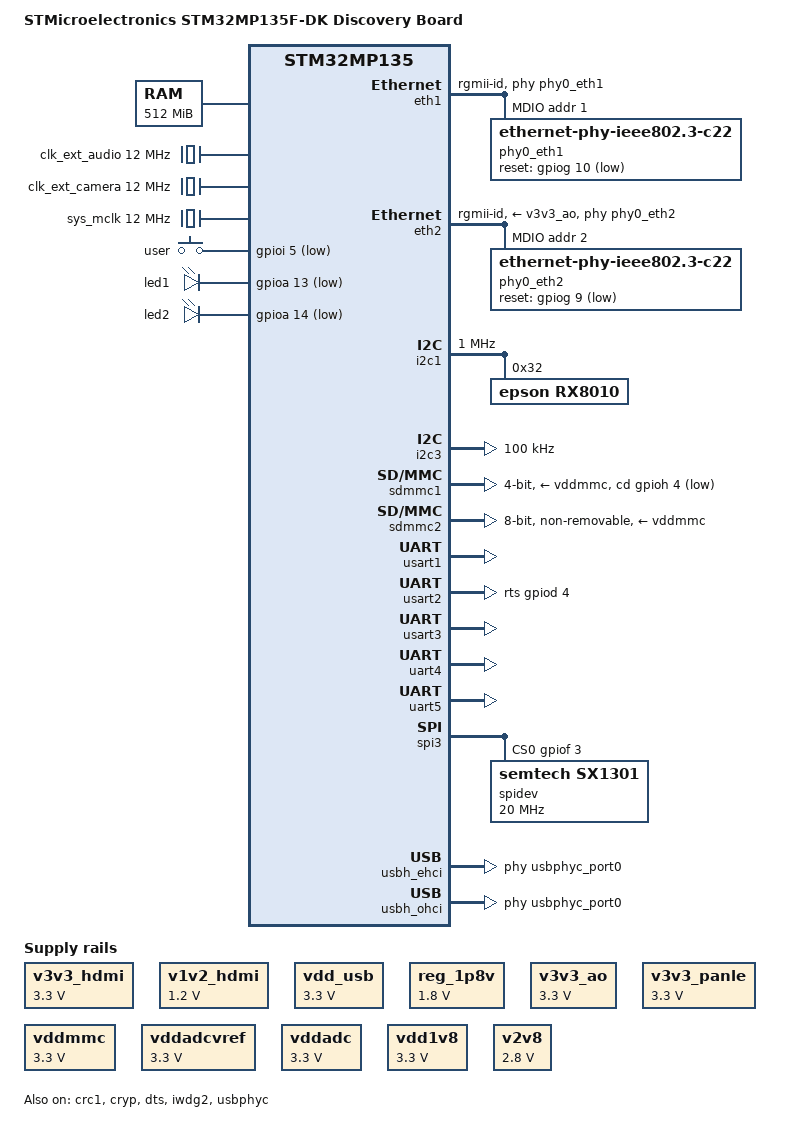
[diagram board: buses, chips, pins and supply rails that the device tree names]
// SPDX-License-Identifier: (GPL-2.0+ OR BSD-3-Clause)
/*
 * Copyright (C) MYiR 2022 - All Rights Reserved
 * Author: Alexhu <fan.hu@myirtech.com> for MYiR.
 */

/dts-v1/;

#include <dt-bindings/gpio/gpio.h>
#include <dt-bindings/input/input.h>
#include <dt-bindings/leds/common.h>
#include <dt-bindings/rtc/rtc-stm32.h>
#include "stm32mp135.dtsi"
#include "stm32mp13xf.dtsi"
#include "stm32mp13-gateway-pinctrl.dtsi"

/ {
	model = "STMicroelectronics STM32MP135F-DK Discovery Board";
	compatible = "st,stm32mp135f-dk", "st,stm32mp135";

	aliases {
		ethernet0 = &eth1;
		ethernet1 = &eth2;
		serial0 = &uart4;
		serial3 = &usart1;
		serial1 = &usart2;
		serial2 = &usart3;
		serial5 = &uart5;
	};

	chosen {
		#address-cells = <1>;
		#size-cells = <1>;
		ranges;
		stdout-path = "serial0:115200n8";
	};

	memory@c0000000 {
		device_type = "memory";
		reg = <0xc0000000 0x20000000>;
	};

	reserved-memory {
		#address-cells = <1>;
		#size-cells = <1>;
		ranges;

		optee_framebuffer@dd000000 {
			reg = <0xdd000000 0x1000000>;
			no-map;
		};

		optee@de000000 {
			reg = <0xde000000 0x2000000>;
			no-map;
		};
	};

	clocks {
		clk_ext_audio: clk-ext-audio {
			#clock-cells = <0>;
			compatible = "fixed-clock";
			clock-frequency = <12000000>;
		};

		clk_ext_camera: clk-ext-camera {
			#clock-cells = <0>;
			compatible = "fixed-clock";
			clock-frequency = <12000000>;
		};

		clk_mco1: clk-mco1 {
			#clock-cells = <0>;
			compatible = "fixed-clock";
			clock-frequency = <24000000>;
		};
	};

	sys_mclk: clock-mclk {
		compatible = "fixed-clock";
		#clock-cells = <0>;
		clock-frequency = <12000000>;
	};

	gpio-keys {
		compatible = "gpio-keys";
		#size-cells = <0>;

		user {
			label = "user";
			linux,code = <BTN_1>;
			gpios = <&gpioi 5 (GPIO_ACTIVE_LOW | GPIO_PULL_UP)>;
		};
	};

	leds {
		compatible = "gpio-leds";
		led1 {
			gpios = <&gpioa 13 GPIO_ACTIVE_LOW>;
			linux,default-trigger = "heartbeat";
			default-state = "on";
		};
		led2 {
			gpios = <&gpioa 14 GPIO_ACTIVE_LOW>;
			linux,default-trigger = "heartbeat";
			default-state = "on";
		};

	};

	v3v3_hdmi: regulator-v3v3-hdmi {
		compatible = "regulator-fixed";
		regulator-name = "v3v3_hdmi";
		regulator-min-microvolt = <3300000>;
		regulator-max-microvolt = <3300000>;
		regulator-always-on;
		regulator-boot-on;
	};

	v1v2_hdmi: regulator-v1v2-hdmi {
		compatible = "regulator-fixed";
		regulator-name = "v1v2_hdmi";
		regulator-min-microvolt = <1200000>;
		regulator-max-microvolt = <1200000>;
		regulator-always-on;
		regulator-boot-on;
	};

	vdd_usb: reg-vdd_usb {
		compatible = "regulator-fixed";
		regulator-name = "vdd_usb";
		regulator-min-microvolt = <3300000>;
		regulator-max-microvolt = <3300000>;
		regulator-always-on;
		regulator-boot-on;
	};

	reg_1p8v: regulator3 {
		compatible = "regulator-fixed";
		regulator-name = "fixed-1.8V";
		regulator-min-microvolt = <1800000>;
		regulator-max-microvolt = <1800000>;
		regulator-boot-on;
		regulator-always-on;
	};

	v3v3_ao: v3v3_ao {
		compatible = "regulator-fixed";
		regulator-name = "v3v3_ao";
		regulator-min-microvolt = <3300000>;
		regulator-max-microvolt = <3300000>;
		regulator-always-on;
	};

	v3v3_panle: v3v3_panle {
		compatible = "regulator-fixed";
		regulator-name = "v3v3_panle";
		regulator-min-microvolt = <3300000>;
		regulator-max-microvolt = <3300000>;
		regulator-always-on;
	};

	vddmmc: fixedregulator@0 {
		compatible = "regulator-fixed";
		regulator-name = "vddmmc";
		regulator-min-microvolt = <3300000>;
		regulator-max-microvolt = <3300000>;
	};

	vddadcvref: fixedregulator@0 {
		compatible = "regulator-fixed";
		regulator-name = "vddadcvref";
		regulator-min-microvolt = <3300000>;
		regulator-max-microvolt = <3300000>;
	};

	vddadc: fixedregulator@0 {
		compatible = "regulator-fixed";
		regulator-name = "vddadc";
		regulator-min-microvolt = <3300000>;
		regulator-max-microvolt = <3300000>;
	};

	vdd1v8: vdd1v8 {
		compatible = "regulator-fixed";
		regulator-name = "vdd1v8";
		regulator-min-microvolt = <3300000>;
		regulator-max-microvolt = <3300000>;
	};

	v2v8: v2v8 {
		compatible = "regulator-fixed";
		regulator-name = "v2v8";
		regulator-min-microvolt = <2800000>;
		regulator-max-microvolt = <2800000>;
	};
};

&crc1 {
	status = "okay";
};

&cryp {
	status = "okay";
};

&dma1 {
	sram = <&dma_pool>;
};

&dma2 {
	sram = <&dma_pool>;
};

&dts {
	status = "okay";
};

&eth1 {
	status = "okay";
	pinctrl-0 = <&eth1_rgmii_pins_a>;
	pinctrl-1 = <&eth1_rgmii_sleep_pins_a>;
	pinctrl-names = "default", "sleep";
	phy-mode = "rgmii-id";
	max-speed = <1000>;
	phy-handle = <&phy0_eth1>;
	//st,phy-reset-gpios = <&gpiog 10 GPIO_ACTIVE_HIGH>;
	//snps,phy-reset-gpios = <&gpiog 10 GPIO_ACTIVE_HIGH>;

	mdio1 {
		#address-cells = <1>;
		#size-cells = <0>;
		compatible = "snps,dwmac-mdio";
		phy0_eth1: ethernet-phy@1 {
				compatible = "ethernet-phy-ieee802.3-c22";
				reg = <1>;
			reset-gpios = <&gpiog 10 GPIO_ACTIVE_LOW>;
			reset-assert-us = <10000>;
			reset-deassert-us = <1000>;
		};
	};
	
};

&eth2 {
	status = "okay";
	pinctrl-0 = <&eth2_rgmii_pins_a>;
	pinctrl-1 = <&eth2_rgmii_sleep_pins_a>;
	pinctrl-names = "default", "sleep";
	phy-mode = "rgmii-id";
	max-speed = <1000>;
	phy-handle = <&phy0_eth2>;
	phy-supply = <&v3v3_ao>;
	//st,phy-reset-gpios =  <&gpiog 9 GPIO_ACTIVE_HIGH>;
	//snps,phy-reset-gpios =  <&gpiog 9 GPIO_ACTIVE_HIGH>;
	// reset-deassert-us = <1000>;
	// reset-assert-us = <1000>;
	
	
	mdio1 {
		#address-cells = <1>;
		#size-cells = <0>;
		compatible = "snps,dwmac-mdio";
		phy0_eth2: ethernet-phy@2 {
				compatible = "ethernet-phy-ieee802.3-c22";
				reg = <2>;
			reset-gpios = <&gpiog 9 GPIO_ACTIVE_LOW>;
			reset-assert-us = <10000>;
			reset-deassert-us = <1000>;
		};
	};

};

&i2c1 {
	pinctrl-names = "default", "sleep";
	pinctrl-0 = <&i2c1_pins_a>;
	pinctrl-1 = <&i2c1_sleep_pins_a>;
	i2c-scl-rising-time-ns = <96>;
	i2c-scl-falling-time-ns = <3>;
	clock-frequency = <1000000>;
	status = "okay";
	/* spare dmas for other usage */
	/delete-property/dmas;
	/delete-property/dma-names;
	
	rx8010: rx8010@32 {
		compatible = "epson,rx8010";
		reg = <0x32>;
	};
};

&i2c3 {
	pinctrl-names = "default", "sleep";
	pinctrl-0 = <&i2c3_pins_a>;
	pinctrl-1 = <&i2c3_sleep_pins_a>;
	i2c-scl-rising-time-ns = <300>;
	i2c-scl-falling-time-ns = <300>;
	clock-frequency = <100000>;
	status = "okay";
	/* spare dmas for other usage */
	/delete-property/dmas;
	/delete-property/dma-names;
};

&iwdg2 {
	timeout-sec = <32>;
	status = "okay";
};

&rtc {
	status = "disabled";
};

&sdmmc1 {
	pinctrl-names = "default", "opendrain", "sleep";
	pinctrl-0 = <&sdmmc1_b4_pins_a &sdmmc1_clk_pins_a>;
	pinctrl-1 = <&sdmmc1_b4_od_pins_a &sdmmc1_clk_pins_a>;
	pinctrl-2 = <&sdmmc1_b4_sleep_pins_a>;
	cd-gpios = <&gpioh 4 (GPIO_ACTIVE_LOW | GPIO_PULL_UP)>;
	disable-wp;
	st,neg-edge;
	bus-width = <4>;
	vmmc-supply = <&vddmmc>;
	status = "okay";
};

/* eMMC */
&sdmmc2 {
	arm,primecell-periphid = <0x10153180>;
	pinctrl-names = "default", "opendrain", "sleep";
	pinctrl-0 = <&sdmmc2_b4_pins_a &sdmmc2_clk_pins_a>;
	pinctrl-1 = <&sdmmc2_b4_od_pins_a &sdmmc2_clk_pins_a>;
	pinctrl-2 = <&sdmmc2_b4_sleep_pins_a>;
	non-removable;
	no-sd;
	no-sdio;
	st,neg-edge;
	bus-width = <8>;
	vmmc-supply = <&vddmmc>;
	vqmmc-supply = <&vdd1v8>;
	#address-cells = <1>;
	#size-cells = <0>;
	status = "okay";
};

&sram {
	dma_pool: dma-sram@0 {
		reg = <0x0 0x4000>;
		pool;
	};
};

&timers3 {
	/delete-property/dmas;
	/delete-property/dma-names;
	status = "disabled";
};

&timers4 {
	/delete-property/dmas;
	/delete-property/dma-names;
	status = "disabled";
};

&timers8 {
	/delete-property/dmas;
	/delete-property/dma-names;
	status = "disabled";
};

&timers14 {
	status = "disabled";
};

&uart8 {
	pinctrl-names = "default", "sleep", "idle";
	pinctrl-0 = <&uart8_pins_a>;
	pinctrl-1 = <&uart8_sleep_pins_a>;
	pinctrl-2 = <&uart8_idle_pins_a>;
	/delete-property/dmas;
	/delete-property/dma-names;
	status = "disabled";
};

&usart1 {
	pinctrl-names = "default", "sleep", "idle";
	pinctrl-0 = <&usart1_pins_b>;
	pinctrl-1 = <&usart1_sleep_pins_b>;
	pinctrl-2 = <&usart1_idle_pins_b>;
	status = "okay";
};

&usart2 {
	pinctrl-names = "default", "sleep", "idle";
	pinctrl-0 = <&usart2_pins_a>;
	pinctrl-1 = <&usart2_sleep_pins_a>;
	pinctrl-2 = <&usart2_idle_pins_a>;
	rts-gpios = <&gpiod 4 GPIO_ACTIVE_HIGH>;
	linux,rs485-enabled-at-boot-time;
	status = "okay";
};

&usart3 {
	pinctrl-names = "default", "sleep", "idle";
	pinctrl-0 = <&usart3_pins_a>;
	pinctrl-1 = <&usart3_sleep_pins_a>;
	pinctrl-2 = <&usart3_idle_pins_a>;
	//rts-gpios = <&gpiog 8 GPIO_ACTIVE_HIGH>;
	linux,rs485-enabled-at-boot-time;
	status = "okay";
};

/*console*/
&uart4 {
	pinctrl-names = "default", "sleep", "idle";
	pinctrl-0 = <&uart4_pins_a>;
	pinctrl-1 = <&uart4_sleep_pins_a>;
	pinctrl-2 = <&uart4_idle_pins_a>;
	/delete-property/dmas;
	/delete-property/dma-names;
	status = "okay";
};

/*RS232*/
&uart5 {
	pinctrl-names = "default", "sleep", "idle";
	pinctrl-0 = <&uart5_pins_b>;
	pinctrl-1 = <&uart5_sleep_pins_b>;
	pinctrl-2 = <&uart5_idle_pins_b>;
	// /delete-property/dmas;
	// /delete-property/dma-names;
	status = "okay";
};

&spi3 {
	pinctrl-names = "default", "sleep";
	pinctrl-0 = <&spi3_pins_a>;
	pinctrl-1 = <&spi3_sleep_pins_a>;
	cs-gpios = <&gpiof 3 0>;
	status = "okay";

	spidev@0 {
		compatible = "semtech,sx1301";
		spi-max-frequency = <20000000>;
		reg = <0>;
	};
};


&usbh_ehci {
	phys = <&usbphyc_port0>, <&usbphyc_port1 1>;
	phy-names = "usb", "usb";
	status = "okay";
};

&usbh_ohci {
	phys = <&usbphyc_port0>, <&usbphyc_port1 1>;
	phy-names = "usb", "usb";
	status = "okay";
};
/*
&usbotg_hs {
	phys = <&usbphyc_port1 0>;
	phy-names = "usb2-phy";
	usb-role-switch;
	//dr_mode = "otg";
	dr_mode = "host";
	// hnp-disable;
	// srp-disable;
	// adp-disable;
	status = "okay";
	
	port {
		usbotg_hs_ep: endpoint {
			remote-endpoint = <&con_usb_c_ep>;
		};
	};
	
};
*/

&usbphyc {
	status = "okay";
};

&usbphyc_port0 {
	phy-supply = <&vdd_usb>;
	st,current-boost-microamp = <1000>;
	st,decrease-hs-slew-rate;
	st,tune-hs-dc-level = <2>;
	st,enable-hs-rftime-reduction;
	st,trim-hs-current = <11>;
	st,trim-hs-impedance = <2>;
	st,tune-squelch-level = <1>;
	st,enable-hs-rx-gain-eq;
	st,no-hs-ftime-ctrl;
	st,no-lsfs-sc;

	/*
	 * Hack to keep hub active if wakeup source is enabled
	 * otherwise the hub will wakeup the port0 as soon as the v3v3_sw is disabled
	 */
	// connector {
	// 	compatible = "usb-a-connector";
	// 	vbus-supply = <&scmi_v3v3_sw>;
	// };
};

&usbphyc_port1 {
	phy-supply = <&vdd_usb>;
	st,current-boost-microamp = <1000>;
	st,decrease-hs-slew-rate;
	st,tune-hs-dc-level = <2>;
	st,enable-hs-rftime-reduction;
	st,trim-hs-current = <11>;
	st,trim-hs-impedance = <2>;
	st,tune-squelch-level = <1>;
	st,enable-hs-rx-gain-eq;
	st,no-hs-ftime-ctrl;
	st,no-lsfs-sc;
};
